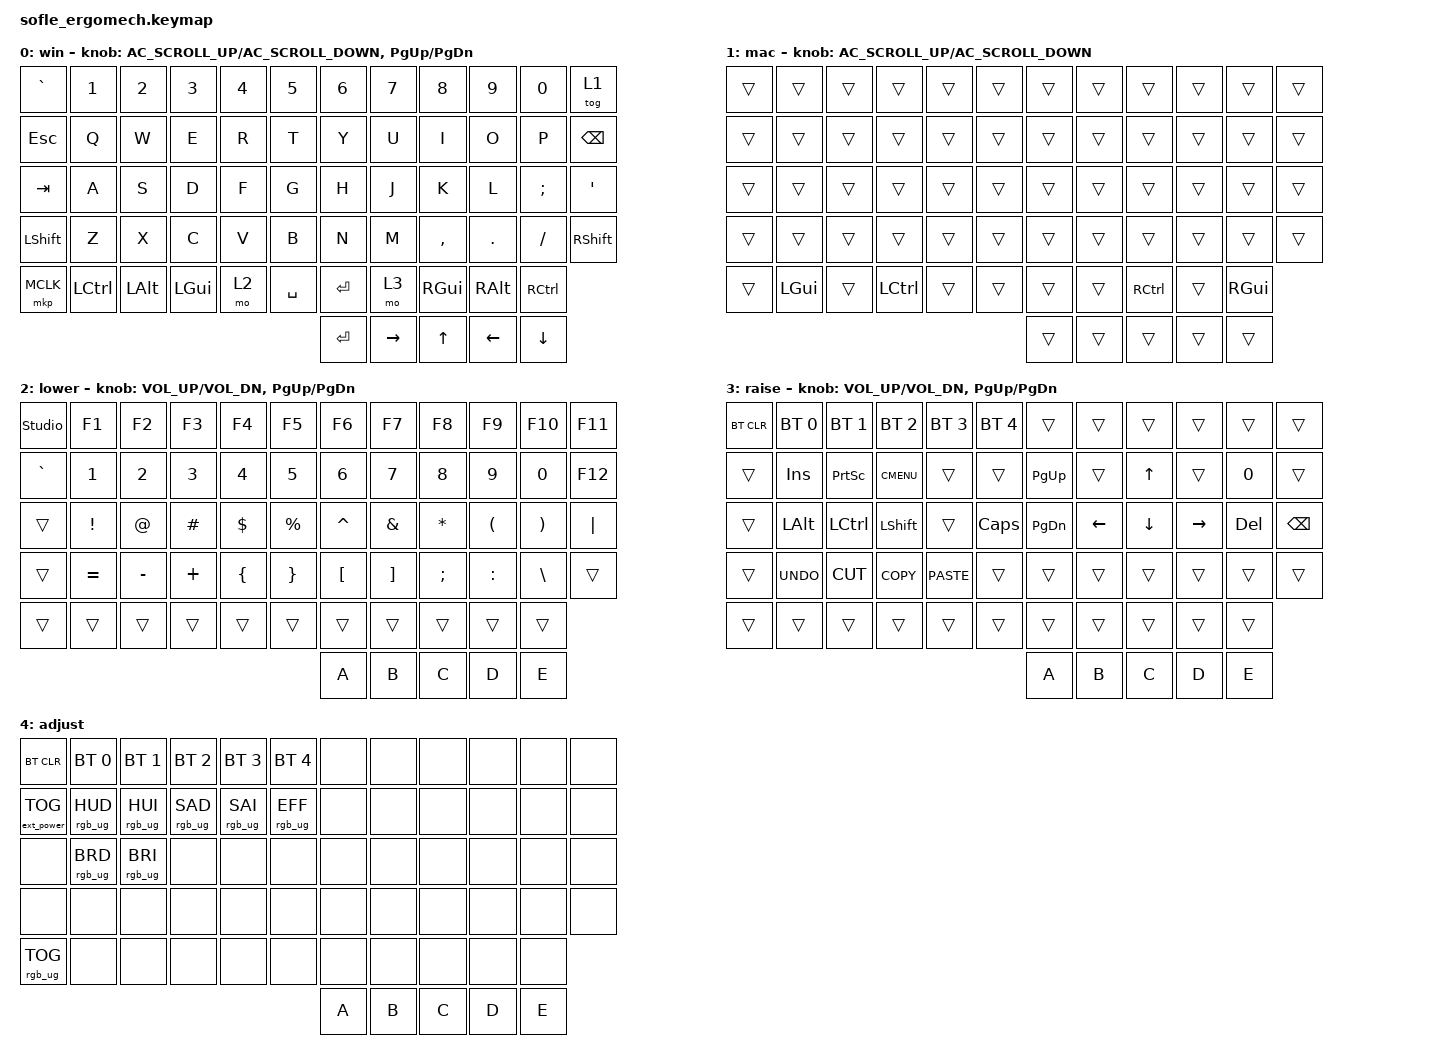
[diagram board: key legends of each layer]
/*
 * Copyright (c) 2020 The ZMK Contributors
 *
 * SPDX-License-Identifier: MIT
 */

#include <behaviors.dtsi>
#include <dt-bindings/zmk/bt.h>
#include <dt-bindings/zmk/ext_power.h>
#include <dt-bindings/zmk/keys.h>
#include <dt-bindings/zmk/pointing.h>
#include <dt-bindings/zmk/rgb.h>

#define BASE 0
#define LOWER 1
#define RAISE 2
#define ADJUST 3

/ {
    // Activate ADJUST layer by pressing raise and lower

    conditional_layers {
        compatible = "zmk,conditional-layers";

        adjust_layer {
            if-layers = <2 3>;
            then-layer = <4>;
        };
    };

    keymap {
        compatible = "zmk,keymap";

        win {
            label = "win";

            // ------------------------------------------------------------------------------------------------------------
            // |   `   |  1  |  2  |  3   |  4   |  5   |                   |  6   |  7    |  8    |  9   |   0   |       |
            // |  ESC  |  Q  |  W  |  E   |  R   |  T   |                   |  Y   |  U    |  I    |  O   |   P   | BKSPC |
            // |  TAB  |  A  |  S  |  D   |  F   |  G   |                   |  H   |  J    |  K    |  L   |   ;   |   '   |
            // | SHIFT |  Z  |  X  |  C   |  V   |  B   |  MUTE  |  |       |  N   |  M    |  ,    |  .   |   /   | SHIFT |
            //               | GUI | ALT  | CTRL | LOWER|  ENTER |  | SPACE | RAISE| CTRL  | ALT   | GUI  |

            bindings = <
&kp GRAVE  &kp N1     &kp N2    &kp N3    &kp N4  &kp N5     &kp N6     &kp N7     &kp N8        &kp N9    &kp N0     &tog 1
&kp ESC    &kp Q      &kp W     &kp E     &kp R   &kp T      &kp Y      &kp U      &kp I         &kp O     &kp P      &kp BSPC
&kp TAB    &kp A      &kp S     &kp D     &kp F   &kp G      &kp H      &kp J      &kp K         &kp L     &kp SEMI   &kp SQT
&kp LSHFT  &kp Z      &kp X     &kp C     &kp V   &kp B      &kp N      &kp M      &kp COMMA     &kp DOT   &kp FSLH   &kp RSHFT
&mkp MCLK  &kp LCTRL  &kp LALT  &kp LGUI  &mo 2   &kp SPACE  &kp ENTER  &mo 3      &kp RGUI      &kp RALT  &kp RCTRL
                                                             &kp ENTER  &kp RIGHT  &kp UP_ARROW  &kp LEFT  &kp DOWN
            >;

            sensor-bindings =
                <&inc_dec_kp C_AC_SCROLL_UP C_AC_SCROLL_DOWN>,
                <&inc_dec_kp PG_UP PG_DN>;
        };

        mac {
            bindings = <
&trans  &trans    &trans  &trans     &trans  &trans  &trans  &trans  &trans     &trans  &trans    &trans
&trans  &trans    &trans  &trans     &trans  &trans  &trans  &trans  &trans     &trans  &trans    &trans
&trans  &trans    &trans  &trans     &trans  &trans  &trans  &trans  &trans     &trans  &trans    &trans
&trans  &trans    &trans  &trans     &trans  &trans  &trans  &trans  &trans     &trans  &trans    &trans
&trans  &kp LGUI  &trans  &kp LCTRL  &trans  &trans  &trans  &trans  &kp RCTRL  &trans  &kp RGUI
                                                     &trans  &trans  &trans     &trans  &trans
            >;

            sensor-bindings = <&inc_dec_kp C_AC_SCROLL_UP C_AC_SCROLL_DOWN>;
        };

        lower_layer {
            label = "lower";

            // TODO: Some binds are waiting for shifted keycode support.
            // ------------------------------------------------------------------------------------------------------------
            // |       |  F1 |  F2 |  F3  |  F4  |  F5  |                   |  F6  |  F7   |  F8   |  F9  |  F10  |  F11  |
            // |   `   |  1  |  2  |  3   |  4   |  5   |                   |  6   |  7    |  8    |  9   |   0   |  F12  |
            // |       |  !  |  @  |  #   |  $   |  %   |                   |  ^   |  &    |  *    |  (   |   )   |   |   |
            // |       |  =  |  -  |  +   |  {   |  }   |        |  |       |  [   |  ]    |  ;    |  :   |   \   |       |
            //               |     |      |      |      |        |  |       |      |       |       |      |

            bindings = <
&studio_unlock  &kp F1     &kp F2     &kp F3    &kp F4    &kp F5     &kp F6     &kp F7    &kp F8     &kp F9     &kp F10   &kp F11
&kp GRAVE       &kp N1     &kp N2     &kp N3    &kp N4    &kp N5     &kp N6     &kp N7    &kp N8     &kp N9     &kp N0    &kp F12
&trans          &kp EXCL   &kp AT     &kp HASH  &kp DLLR  &kp PRCNT  &kp CARET  &kp AMPS  &kp ASTRK  &kp LPAR   &kp RPAR  &kp PIPE
&trans          &kp EQUAL  &kp MINUS  &kp PLUS  &kp LBRC  &kp RBRC   &kp LBKT   &kp RBKT  &kp SEMI   &kp COLON  &kp BSLH  &trans
&trans          &trans     &trans     &trans    &trans    &trans     &trans     &trans    &trans     &trans     &trans
                                                                     &kp A      &kp B     &kp C      &kp D      &kp E
            >;

            sensor-bindings = <&inc_dec_kp C_VOL_UP C_VOL_DN &inc_dec_kp PG_UP PG_DN>;
        };

        raise_layer {
            label = "raise";

            // ------------------------------------------------------------------------------------------------------------
            // | BTCLR | BT1  | BT2  |  BT3  |  BT4  |  BT5 |                |      |      |       |      |       |       |
            // |       | INS  | PSCR | GUI   |       |      |                | PGUP |      |   ^   |      |       |       |
            // |       | ALT  | CTRL | SHIFT |       | CAPS |                | PGDN |   <- |   v   |  ->  |  DEL  | BKSPC |
            // |       | UNDO | CUT  | COPY  | PASTE |      |      |  |      |      |      |       |      |       |       |
            //                |      |       |       |      |      |  |      |      |      |       |      |

            bindings = <
&bt BT_CLR  &bt BT_SEL 0  &bt BT_SEL 1  &bt BT_SEL 2  &bt BT_SEL 3  &bt BT_SEL 4  &trans     &trans    &trans    &trans     &trans   &trans
&trans      &kp INS       &kp PSCRN     &kp K_CMENU   &trans        &trans        &kp PG_UP  &trans    &kp UP    &trans     &kp N0   &trans
&trans      &kp LALT      &kp LCTRL     &kp LSHFT     &trans        &kp CLCK      &kp PG_DN  &kp LEFT  &kp DOWN  &kp RIGHT  &kp DEL  &kp BSPC
&trans      &kp K_UNDO    &kp K_CUT     &kp K_COPY    &kp K_PASTE   &trans        &trans     &trans    &trans    &trans     &trans   &trans
&trans      &trans        &trans        &trans        &trans        &trans        &trans     &trans    &trans    &trans     &trans
                                                                                  &kp A      &kp B     &kp C     &kp D      &kp E
            >;

            sensor-bindings = <&inc_dec_kp C_VOL_UP C_VOL_DN &inc_dec_kp PG_UP PG_DN>;
        };

        adjust_layer {
            // ----------------------------------------------------------------------------------------------------------------------------
            // | BTCLR  |  BT1    |  BT2    |   BT3   |   BT4   |   BT5   |                  |      |      |       |      |       |       |
            // | EXTPWR | RGB_HUD | RGB_HUI | RGB_SAD | RGB_SAI | RGB_EFF |                  |      |      |       |      |       |       |
            // |        | RGB_BRD | RGB_BRI |         |         |         |                  |      |      |       |      |       |       |
            // |        |         |         |         |         |         | RGB_TOG | |      |      |      |       |      |       |       |
            //                    |         |         |         |         |         | |      |      |      |       |      |

            label = "adjust";
            bindings = <
&bt BT_CLR         &bt BT_SEL 0     &bt BT_SEL 1     &bt BT_SEL 2     &bt BT_SEL 3     &bt BT_SEL 4     &none  &none  &none  &none  &none  &none
&ext_power EP_TOG  &rgb_ug RGB_HUD  &rgb_ug RGB_HUI  &rgb_ug RGB_SAD  &rgb_ug RGB_SAI  &rgb_ug RGB_EFF  &none  &none  &none  &none  &none  &none
&none              &rgb_ug RGB_BRD  &rgb_ug RGB_BRI  &none            &none            &none            &none  &none  &none  &none  &none  &none
&none              &none            &none            &none            &none            &none            &none  &none  &none  &none  &none  &none
&rgb_ug RGB_TOG    &none            &none            &none            &none            &none            &none  &none  &none  &none  &none
                                                                                                        &kp A  &kp B  &kp C  &kp D  &kp E
            >;
        };
    };
};
